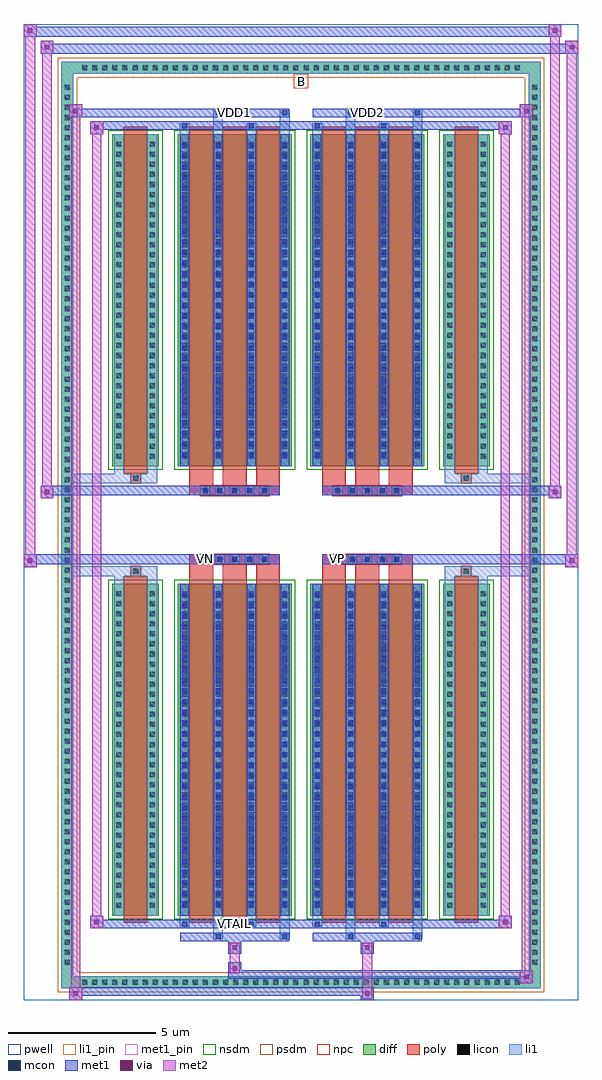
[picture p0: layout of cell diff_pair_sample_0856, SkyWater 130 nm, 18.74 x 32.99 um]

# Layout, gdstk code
import gdstk
lib = gdstk.Library(unit=1e-6, precision=5e-09)
def R(c, l, rs):  # rectangles x0, y0, x1, y1
    for r in rs: c.add(gdstk.rectangle(r[:2], r[2:], *l))
def A(c, l, x, y, w, h, nx, ny, dx, dy):  # array of equal rectangles
    R(c, l, [(x+i*dx, y+j*dy, x+i*dx+w, y+j*dy+h) for i in range(nx) for j in range(ny)])
def P(c, l, *ps):  # polygons
    for p in ps: c.add(gdstk.Polygon(p, *l))
pwell = (64, 44)
diff = (65, 20)
poly = (66, 20)
licon = (66, 44)
li1_pin = (67, 16)
li1 = (67, 20)
mcon = (67, 44)
met1_pin = (68, 16)
met1 = (68, 20)
via = (68, 44)
met2 = (69, 20)
nsdm = (93, 44)
psdm = (94, 20)
npc = (95, 20)

diff_pair_sample_0856 = lib.new_cell('diff_pair_sample_0856')
R(diff_pair_sample_0856, pwell, [(-9.37,-16.06,9.37,16.93), (-6.69,-14.25,-0.01,-0.795), (0.01,-14.25,6.69,-0.795), (-6.69,0.795,-0.01,14.25), (0.01,0.795,6.69,14.25)])
A(diff_pair_sample_0856, diff, -7.515, -15.66, 0.41, 0.41, 44, 2, 0.34, 30.91)
A(diff_pair_sample_0856, diff, -8.1, -14.995, 0.41, 0.41, 1, 88, 0, 0.34)
A(diff_pair_sample_0856, diff, 7.69, -14.995, 0.41, 0.41, 1, 88, 0, 0.34)
R(diff_pair_sample_0856, diff, [(-7.515,-15.66,7.515,-15.25), (-8.1,-14.995,-7.69,14.995), (7.69,-14.995,8.1,14.995), (-6.38,-13.205,-4.8,-1.985), (-4.16,-13.205,-0.32,-1.985), (0.32,-13.205,4.16,-1.985), (4.8,-13.205,6.38,-1.985), (-6.38,1.985,-4.8,13.205), (-4.16,1.985,-0.32,13.205), (0.32,1.985,4.16,13.205), (4.8,1.985,6.38,13.205), (-7.515,15.25,7.515,15.66)])
P(diff_pair_sample_0856, diff, [(8.1,15.66),(-8.1,15.66),(-8.1,-15.25),(-7.69,-15.25),(-7.69,15.25),(7.69,15.25),(7.69,-15.25),(-7.69,-15.25),(-8.1,-15.25),(-8.1,-15.66),(8.1,-15.66)])
A(diff_pair_sample_0856, poly, -3.77, -13.455, 0.8, 11.72, 3, 2, 1.13, 15.19)
A(diff_pair_sample_0856, poly, 0.71, -13.455, 0.8, 11.72, 3, 2, 1.13, 15.19)
A(diff_pair_sample_0856, poly, -3.77, -1.735, 0.8, 0.41, 3, 2, 1.13, 3.06)
A(diff_pair_sample_0856, poly, 0.71, -1.735, 0.8, 0.41, 3, 2, 1.13, 3.06)
A(diff_pair_sample_0856, poly, -3.405, -1.325, 0.33, 0.33, 5, 2, 0.5, 2.32)
A(diff_pair_sample_0856, poly, 1.075, -1.325, 0.33, 0.33, 5, 2, 0.5, 2.32)
R(diff_pair_sample_0856, poly, [(-5.99,-13.455,-5.19,-1.735), (5.19,-13.455,5.99,-1.735), (-5.755,-1.735,-5.425,-1.405), (-5.755,-1.735,-5.425,-1.405), (5.425,-1.735,5.755,-1.405), (5.425,-1.735,5.755,-1.405), (-3.77,-1.325,-0.71,-0.995), (0.71,-1.325,3.77,-0.995), (-3.77,0.995,-0.71,1.325), (0.71,0.995,3.77,1.325), (-5.755,1.405,-5.425,1.735), (-5.755,1.405,-5.425,1.735), (5.425,1.405,5.755,1.735), (5.425,1.405,5.755,1.735), (-5.99,1.735,-5.19,13.455), (5.19,1.735,5.99,13.455)])
A(diff_pair_sample_0856, licon, -7.395, -15.54, 0.17, 0.17, 44, 2, 0.34, 30.91)
A(diff_pair_sample_0856, licon, -7.98, -14.875, 0.17, 0.17, 1, 88, 0, 0.34)
A(diff_pair_sample_0856, licon, 7.81, -14.875, 0.17, 0.17, 1, 88, 0, 0.34)
A(diff_pair_sample_0856, licon, -6.24, -12.95, 0.17, 0.17, 1, 32, 0, 0.34)
A(diff_pair_sample_0856, licon, -5.11, -12.95, 0.17, 0.17, 1, 32, 0, 0.34)
A(diff_pair_sample_0856, licon, -4.02, -12.95, 0.17, 0.17, 4, 32, 1.13, 0.34)
A(diff_pair_sample_0856, licon, 0.46, -12.95, 0.17, 0.17, 4, 32, 1.13, 0.34)
A(diff_pair_sample_0856, licon, 4.94, -12.95, 0.17, 0.17, 1, 32, 0, 0.34)
A(diff_pair_sample_0856, licon, 6.07, -12.95, 0.17, 0.17, 1, 32, 0, 0.34)
A(diff_pair_sample_0856, licon, -3.325, -1.245, 0.17, 0.17, 5, 2, 0.5, 2.32)
A(diff_pair_sample_0856, licon, 1.155, -1.245, 0.17, 0.17, 5, 2, 0.5, 2.32)
A(diff_pair_sample_0856, licon, -6.24, 2.24, 0.17, 0.17, 1, 32, 0, 0.34)
A(diff_pair_sample_0856, licon, -5.11, 2.24, 0.17, 0.17, 1, 32, 0, 0.34)
A(diff_pair_sample_0856, licon, -4.02, 2.24, 0.17, 0.17, 4, 32, 1.13, 0.34)
A(diff_pair_sample_0856, licon, 0.46, 2.24, 0.17, 0.17, 4, 32, 1.13, 0.34)
A(diff_pair_sample_0856, licon, 4.94, 2.24, 0.17, 0.17, 1, 32, 0, 0.34)
A(diff_pair_sample_0856, licon, 6.07, 2.24, 0.17, 0.17, 1, 32, 0, 0.34)
R(diff_pair_sample_0856, licon, [(-5.675,-1.655,-5.505,-1.485), (5.505,-1.655,5.675,-1.485), (-5.675,1.485,-5.505,1.655), (5.505,1.485,5.675,1.655)])
R(diff_pair_sample_0856, li1_pin, [(-0.25,14.75,0.25,15.25)])
A(diff_pair_sample_0856, li1, -7.475, -15.62, 0.33, 0.33, 44, 2, 0.34, 30.91)
A(diff_pair_sample_0856, li1, -8.06, -14.955, 0.33, 0.33, 1, 88, 0, 0.34)
A(diff_pair_sample_0856, li1, 7.73, -14.955, 0.33, 0.33, 1, 88, 0, 0.34)
A(diff_pair_sample_0856, li1, -4.1, -13.205, 0.33, 11.22, 4, 2, 1.13, 15.19)
A(diff_pair_sample_0856, li1, 0.38, -13.205, 0.33, 11.22, 4, 2, 1.13, 15.19)
A(diff_pair_sample_0856, li1, -6.32, -13.03, 0.33, 0.33, 1, 32, 0, 0.34)
A(diff_pair_sample_0856, li1, -5.19, -13.03, 0.33, 0.33, 1, 32, 0, 0.34)
A(diff_pair_sample_0856, li1, -4.1, -13.03, 0.33, 0.33, 4, 32, 1.13, 0.34)
A(diff_pair_sample_0856, li1, 0.38, -13.03, 0.33, 0.33, 4, 32, 1.13, 0.34)
A(diff_pair_sample_0856, li1, 4.86, -13.03, 0.33, 0.33, 1, 32, 0, 0.34)
A(diff_pair_sample_0856, li1, 5.99, -13.03, 0.33, 0.33, 1, 32, 0, 0.34)
A(diff_pair_sample_0856, li1, -4.02, -12.9, 0.17, 0.17, 4, 30, 1.13, 0.36)
A(diff_pair_sample_0856, li1, -4.02, -12.9, 0.17, 10.61, 4, 2, 1.13, 15.19)
A(diff_pair_sample_0856, li1, 0.46, -12.9, 0.17, 0.17, 4, 30, 1.13, 0.36)
A(diff_pair_sample_0856, li1, 0.46, -12.9, 0.17, 10.61, 4, 2, 1.13, 15.19)
A(diff_pair_sample_0856, li1, -3.405, -1.325, 0.33, 0.33, 5, 2, 0.5, 2.32)
A(diff_pair_sample_0856, li1, 1.075, -1.325, 0.33, 0.33, 5, 2, 0.5, 2.32)
A(diff_pair_sample_0856, li1, -6.32, 2.16, 0.33, 0.33, 1, 32, 0, 0.34)
A(diff_pair_sample_0856, li1, -5.19, 2.16, 0.33, 0.33, 1, 32, 0, 0.34)
A(diff_pair_sample_0856, li1, -4.1, 2.16, 0.33, 0.33, 4, 32, 1.13, 0.34)
A(diff_pair_sample_0856, li1, 0.38, 2.16, 0.33, 0.33, 4, 32, 1.13, 0.34)
A(diff_pair_sample_0856, li1, 4.86, 2.16, 0.33, 0.33, 1, 32, 0, 0.34)
A(diff_pair_sample_0856, li1, 5.99, 2.16, 0.33, 0.33, 1, 32, 0, 0.34)
A(diff_pair_sample_0856, li1, -4.02, 2.29, 0.17, 0.17, 4, 30, 1.13, 0.36)
A(diff_pair_sample_0856, li1, 0.46, 2.29, 0.17, 0.17, 4, 30, 1.13, 0.36)
R(diff_pair_sample_0856, li1, [(-8.1,-15.66,-7.69,-15.25), (-8.1,-15.66,-7.69,-15.25), (-7.69,-15.66,7.69,-15.25), (7.69,-15.66,8.1,-15.25), (7.69,-15.66,8.1,-15.25), (-8.1,-15.25,-7.69,15.25), (7.69,-15.25,8.1,15.25), (-2.97,-14.01,-2.64,-13.205), (-2.89,-14.01,-2.72,-13.84), (-0.71,-14.01,-0.38,-13.205), (-0.63,-14.01,-0.46,-13.84), (1.51,-14.01,1.84,-13.205), (1.59,-14.01,1.76,-13.84), (3.77,-14.01,4.1,-13.205), (3.85,-14.01,4.02,-13.84), (-4.1,-13.58,-3.77,-13.205), (-4.02,-13.58,-3.85,-13.41), (-1.84,-13.58,-1.51,-13.205), (-1.76,-13.58,-1.59,-13.41), (0.38,-13.58,0.71,-13.205), (0.46,-13.58,0.63,-13.41), (2.64,-13.58,2.97,-13.205), (2.72,-13.58,2.89,-13.41), (-6.32,-13.205,-5.99,-1.985), (-5.19,-13.205,-4.86,-1.985), (4.86,-13.205,5.19,-1.985), (5.99,-13.205,6.32,-1.985), (-6.32,-1.985,-5.99,-1.405), (-5.19,-1.985,-4.86,-1.405), (4.86,-1.985,5.19,-1.405), (5.99,-1.985,6.32,-1.405), (-8.1,-1.735,-5.755,-1.405), (-6.32,-1.735,-5.755,-1.405), (-5.755,-1.735,-5.425,-1.405), (-5.425,-1.735,-4.86,-1.405), (4.86,-1.735,5.425,-1.405), (5.425,-1.735,5.755,-1.405), (5.425,-1.735,8.1,-1.405), (5.755,-1.735,6.32,-1.405), (-8.1,1.405,-5.755,1.735), (-6.32,1.405,-5.755,1.735), (-6.32,1.405,-5.99,1.985), (-5.755,1.405,-5.425,1.735), (-5.425,1.405,-4.86,1.735), (-5.19,1.405,-4.86,1.985), (4.86,1.405,5.425,1.735), (4.86,1.405,5.19,1.985), (5.425,1.405,5.755,1.735), (5.425,1.405,8.1,1.735), (5.755,1.405,6.32,1.735), (5.99,1.405,6.32,1.985), (-6.32,1.985,-5.99,13.205), (-5.19,1.985,-4.86,13.205), (4.86,1.985,5.19,13.205), (5.99,1.985,6.32,13.205), (-4.1,13.205,-3.77,13.58), (-2.97,13.205,-2.64,14.01), (-1.84,13.205,-1.51,13.58), (-0.71,13.205,-0.38,14.01), (0.38,13.205,0.71,13.58), (1.51,13.205,1.84,14.01), (2.64,13.205,2.97,13.58), (3.77,13.205,4.1,14.01), (-4.02,13.41,-3.85,13.58), (-1.76,13.41,-1.59,13.58), (0.46,13.41,0.63,13.58), (2.72,13.41,2.89,13.58), (-2.89,13.84,-2.72,14.01), (-0.63,13.84,-0.46,14.01), (1.59,13.84,1.76,14.01), (3.85,13.84,4.02,14.01), (-8.1,15.25,-7.69,15.66), (-8.1,15.25,-7.69,15.66), (-7.69,15.25,7.69,15.66), (7.69,15.25,8.1,15.66), (7.69,15.25,8.1,15.66)])
A(diff_pair_sample_0856, mcon, -4.02, -12.9, 0.17, 0.17, 4, 30, 1.13, 0.36)
A(diff_pair_sample_0856, mcon, 0.46, -12.9, 0.17, 0.17, 4, 30, 1.13, 0.36)
A(diff_pair_sample_0856, mcon, -3.325, -1.245, 0.17, 0.17, 5, 2, 0.5, 2.32)
A(diff_pair_sample_0856, mcon, 1.155, -1.245, 0.17, 0.17, 5, 2, 0.5, 2.32)
A(diff_pair_sample_0856, mcon, -4.02, 2.29, 0.17, 0.17, 4, 30, 1.13, 0.36)
A(diff_pair_sample_0856, mcon, 0.46, 2.29, 0.17, 0.17, 4, 30, 1.13, 0.36)
R(diff_pair_sample_0856, mcon, [(-2.89,-14.01,-2.72,-13.84), (-0.63,-14.01,-0.46,-13.84), (1.59,-14.01,1.76,-13.84), (3.85,-14.01,4.02,-13.84), (-4.02,-13.58,-3.85,-13.41), (-1.76,-13.58,-1.59,-13.41), (0.46,-13.58,0.63,-13.41), (2.72,-13.58,2.89,-13.41), (-4.02,13.41,-3.85,13.58), (-1.76,13.41,-1.59,13.58), (0.46,13.41,0.63,13.58), (2.72,13.41,2.89,13.58), (-2.89,13.84,-2.72,14.01), (-0.63,13.84,-0.46,14.01), (1.59,13.84,1.76,14.01), (3.85,13.84,4.02,14.01)])
R(diff_pair_sample_0856, met1_pin, [(-2.375,-13.62,-2.105,-13.35), (-3.375,-1.285,-3.105,-1.015), (1.105,-1.285,1.375,-1.015), (-2.375,13.8,-2.105,14.07), (2.105,13.8,2.375,14.07)])
A(diff_pair_sample_0856, met1, -4.08, -13.205, 0.29, 11.22, 4, 2, 1.13, 15.19)
A(diff_pair_sample_0856, met1, 0.4, -13.205, 0.29, 11.22, 4, 2, 1.13, 15.19)
A(diff_pair_sample_0856, met1, -4.08, -12.96, 0.29, 0.29, 4, 30, 1.13, 0.36)
A(diff_pair_sample_0856, met1, 0.4, -12.96, 0.29, 0.29, 4, 30, 1.13, 0.36)
A(diff_pair_sample_0856, met1, -3.385, -1.305, 0.29, 0.29, 5, 2, 0.5, 2.32)
A(diff_pair_sample_0856, met1, 1.095, -1.305, 0.29, 0.29, 5, 2, 0.5, 2.32)
A(diff_pair_sample_0856, met1, -4.08, 2.23, 0.29, 0.29, 4, 30, 1.13, 0.36)
A(diff_pair_sample_0856, met1, 0.4, 2.23, 0.29, 0.29, 4, 30, 1.13, 0.36)
R(diff_pair_sample_0856, met1, [(-7.83,-16.06,-7.4,-15.63), (2.025,-16.06,2.455,-15.63), (-7.83,-15.92,2.455,-15.63), (7.4,-15.49,7.83,-15.06), (-2.455,-15.35,7.83,-15.06), (-2.455,-15.21,-2.025,-14.78), (-2.455,-14.5,-2.025,-14.07), (2.025,-14.5,2.455,-14.07), (-4.08,-14.07,-0.4,-13.78), (-2.95,-14.07,-2.66,-13.78), (-0.69,-14.07,-0.4,-13.78), (0.4,-14.07,4.08,-13.78), (1.53,-14.07,1.82,-13.78), (3.79,-14.07,4.08,-13.78), (-7.12,-13.64,-6.69,-13.21), (-7.12,-13.64,-4.08,-13.35), (-4.08,-13.64,-3.79,-13.35), (-4.08,-13.64,-0.4,-13.35), (-1.82,-13.64,-1.53,-13.35), (-0.4,-13.64,0.4,-13.35), (0.4,-13.64,0.69,-13.35), (0.4,-13.64,4.08,-13.35), (2.66,-13.64,2.95,-13.35), (4.08,-13.64,7.12,-13.35), (6.69,-13.64,7.12,-13.21), (-9.37,-1.425,-8.94,-0.995), (8.94,-1.425,9.37,-0.995), (-9.37,-1.325,-0.71,-0.995), (-3.77,-1.325,-0.71,-0.995), (0.71,-1.325,3.77,-0.995), (0.71,-1.325,9.37,-0.995), (-8.8,0.895,-8.37,1.325), (8.37,0.895,8.8,1.325), (-8.8,0.995,-3.77,1.325), (-3.77,0.995,-0.71,1.325), (0.71,0.995,3.77,1.325), (3.77,0.995,8.8,1.325), (-7.12,13.21,-6.69,13.64), (6.69,13.21,7.12,13.64), (-7.12,13.35,-4.08,13.64), (-4.08,13.35,-3.79,13.64), (-4.08,13.35,-0.4,13.64), (-1.82,13.35,-1.53,13.64), (-0.4,13.35,0.4,13.64), (0.4,13.35,0.69,13.64), (0.4,13.35,4.08,13.64), (2.66,13.35,2.95,13.64), (4.08,13.35,7.12,13.64), (-7.83,13.78,-7.4,14.21), (-7.83,13.78,-4.08,14.07), (-4.08,13.78,-0.4,14.07), (-2.95,13.78,-2.66,14.07), (-0.69,13.78,-0.4,14.07), (0.4,13.78,4.08,14.07), (1.53,13.78,1.82,14.07), (3.79,13.78,4.08,14.07), (4.08,13.78,7.83,14.07), (7.4,13.78,7.83,14.21), (-8.8,15.93,-8.37,16.36), (-8.8,15.93,-6.69,16.26), (-6.69,15.93,6.69,16.26), (6.69,15.93,9.37,16.26), (8.94,15.93,9.37,16.36), (-9.37,16.5,-8.94,16.93), (-9.37,16.5,-6.69,16.83), (-6.69,16.5,6.69,16.83), (6.69,16.5,8.8,16.83), (8.37,16.5,8.8,16.93)])
R(diff_pair_sample_0856, via, [(-7.69,-15.92,-7.54,-15.77), (2.165,-15.92,2.315,-15.77), (7.54,-15.35,7.69,-15.2), (-2.315,-15.07,-2.165,-14.92), (-2.315,-14.36,-2.165,-14.21), (2.165,-14.36,2.315,-14.21), (-6.98,-13.5,-6.83,-13.35), (6.83,-13.5,6.98,-13.35), (-9.23,-1.285,-9.08,-1.135), (9.08,-1.285,9.23,-1.135), (-8.66,1.035,-8.51,1.185), (8.51,1.035,8.66,1.185), (-6.98,13.35,-6.83,13.5), (6.83,13.35,6.98,13.5), (-7.69,13.92,-7.54,14.07), (7.54,13.92,7.69,14.07), (-8.66,16.07,-8.51,16.22), (9.08,16.07,9.23,16.22), (-9.23,16.64,-9.08,16.79), (8.51,16.64,8.66,16.79)])
R(diff_pair_sample_0856, met2, [(-7.83,-16.06,-7.4,-15.63), (-7.76,-16.06,-7.47,14.21), (-7.47,-16.06,-7.4,-15.63), (-7.78,-16.01,-7.45,-15.68), (2.075,-16.01,2.405,-15.68), (2.075,-15.68,2.405,-14.45), (7.4,-15.49,7.83,-15.06), (7.47,-15.49,7.76,14.21), (7.76,-15.49,7.83,-15.06), (7.45,-15.44,7.78,-15.11), (-2.405,-15.16,-2.075,-14.83), (-2.405,-14.83,-2.075,-14.45), (-2.405,-14.45,-2.075,-14.12), (2.075,-14.45,2.405,-14.12), (-7.12,-13.64,-6.69,-13.21), (-7.05,-13.64,-6.76,13.64), (-6.76,-13.64,-6.69,-13.21), (6.69,-13.64,7.12,-13.21), (6.76,-13.64,7.05,13.64), (7.05,-13.64,7.12,-13.21), (-7.07,-13.59,-6.74,-13.26), (6.74,-13.59,7.07,-13.26), (-9.37,-1.425,-8.94,-0.995), (-9.32,-1.425,-8.99,16.93), (-8.99,-1.425,-8.94,-0.995), (8.94,-1.425,9.37,-0.995), (8.99,-1.425,9.32,16.36), (9.32,-1.425,9.37,-0.995), (-9.32,-1.375,-8.99,-1.045), (8.99,-1.375,9.32,-1.045), (-8.8,0.895,-8.37,1.325), (-8.75,0.895,-8.42,16.36), (-8.42,0.895,-8.37,1.325), (8.37,0.895,8.8,1.325), (8.42,0.895,8.75,16.93), (8.75,0.895,8.8,1.325), (-8.75,0.945,-8.42,1.275), (8.42,0.945,8.75,1.275), (-7.12,13.21,-6.69,13.64), (-6.76,13.21,-6.69,13.64), (6.69,13.21,7.12,13.64), (7.05,13.21,7.12,13.64), (-7.07,13.26,-6.74,13.59), (6.74,13.26,7.07,13.59), (-7.83,13.78,-7.4,14.21), (-7.47,13.78,-7.4,14.21), (7.4,13.78,7.83,14.21), (7.76,13.78,7.83,14.21), (-7.78,13.83,-7.45,14.16), (7.45,13.83,7.78,14.16), (-8.8,15.93,-8.37,16.36), (-8.42,15.93,-8.37,16.36), (8.94,15.93,9.37,16.36), (9.32,15.93,9.37,16.36), (-8.75,15.98,-8.42,16.31), (8.99,15.98,9.32,16.31), (-9.37,16.5,-8.94,16.93), (-8.99,16.5,-8.94,16.93), (8.37,16.5,8.8,16.93), (8.75,16.5,8.8,16.93), (-9.32,16.55,-8.99,16.88), (8.42,16.55,8.75,16.88)])
R(diff_pair_sample_0856, nsdm, [(-6.51,-13.335,-4.67,-1.855), (-4.29,-13.335,-0.19,-1.855), (0.19,-13.335,4.29,-1.855), (4.67,-13.335,6.51,-1.855), (-6.51,1.855,-4.67,13.335), (-4.29,1.855,-0.19,13.335), (0.19,1.855,4.29,13.335), (4.67,1.855,6.51,13.335)])
P(diff_pair_sample_0856, psdm, [(8.23,15.79),(-8.23,15.79),(-8.23,-15.12),(-7.56,-15.12),(-7.56,15.12),(7.56,15.12),(7.56,-15.12),(-7.56,-15.12),(-8.23,-15.12),(-8.23,-15.79),(8.23,-15.79)])
A(diff_pair_sample_0856, npc, -3.425, -1.345, 0.37, 0.37, 5, 2, 0.5, 2.32)
A(diff_pair_sample_0856, npc, 1.055, -1.345, 0.37, 0.37, 5, 2, 0.5, 2.32)
R(diff_pair_sample_0856, npc, [(-5.775,-1.755,-5.405,-1.385), (5.405,-1.755,5.775,-1.385), (-3.425,-1.345,-2.555,-0.975), (-3.425,-1.345,-2.555,-0.975), (-2.925,-1.345,-2.055,-0.975), (-2.925,-1.345,-2.055,-0.975), (-2.425,-1.345,-1.555,-0.975), (-2.425,-1.345,-1.555,-0.975), (-1.925,-1.345,-1.055,-0.975), (-1.925,-1.345,-1.055,-0.975), (1.055,-1.345,1.925,-0.975), (1.055,-1.345,1.925,-0.975), (1.555,-1.345,2.425,-0.975), (1.555,-1.345,2.425,-0.975), (2.055,-1.345,2.925,-0.975), (2.055,-1.345,2.925,-0.975), (2.555,-1.345,3.425,-0.975), (2.555,-1.345,3.425,-0.975), (-3.425,0.975,-2.555,1.345), (-3.425,0.975,-2.555,1.345), (-2.925,0.975,-2.055,1.345), (-2.925,0.975,-2.055,1.345), (-2.425,0.975,-1.555,1.345), (-2.425,0.975,-1.555,1.345), (-1.925,0.975,-1.055,1.345), (-1.925,0.975,-1.055,1.345), (1.055,0.975,1.925,1.345), (1.055,0.975,1.925,1.345), (1.555,0.975,2.425,1.345), (1.555,0.975,2.425,1.345), (2.055,0.975,2.925,1.345), (2.055,0.975,2.925,1.345), (2.555,0.975,3.425,1.345), (2.555,0.975,3.425,1.345), (-5.775,1.385,-5.405,1.755), (5.405,1.385,5.775,1.755)])
diff_pair_sample_0856.add(gdstk.Label('VTAIL', (-2.24,-13.485), layer=68, texttype=5))
diff_pair_sample_0856.add(gdstk.Label('VN', (-3.24,-1.15), layer=68, texttype=5))
diff_pair_sample_0856.add(gdstk.Label('VP', (1.24,-1.15), layer=68, texttype=5))
diff_pair_sample_0856.add(gdstk.Label('B', (0,15), layer=67, texttype=5))
diff_pair_sample_0856.add(gdstk.Label('VDD2', (2.24,13.935), layer=68, texttype=5))
diff_pair_sample_0856.add(gdstk.Label('VDD1', (-2.24,13.935), layer=68, texttype=5))

lib.write_gds('diff_pair_sample_0856.gds')
